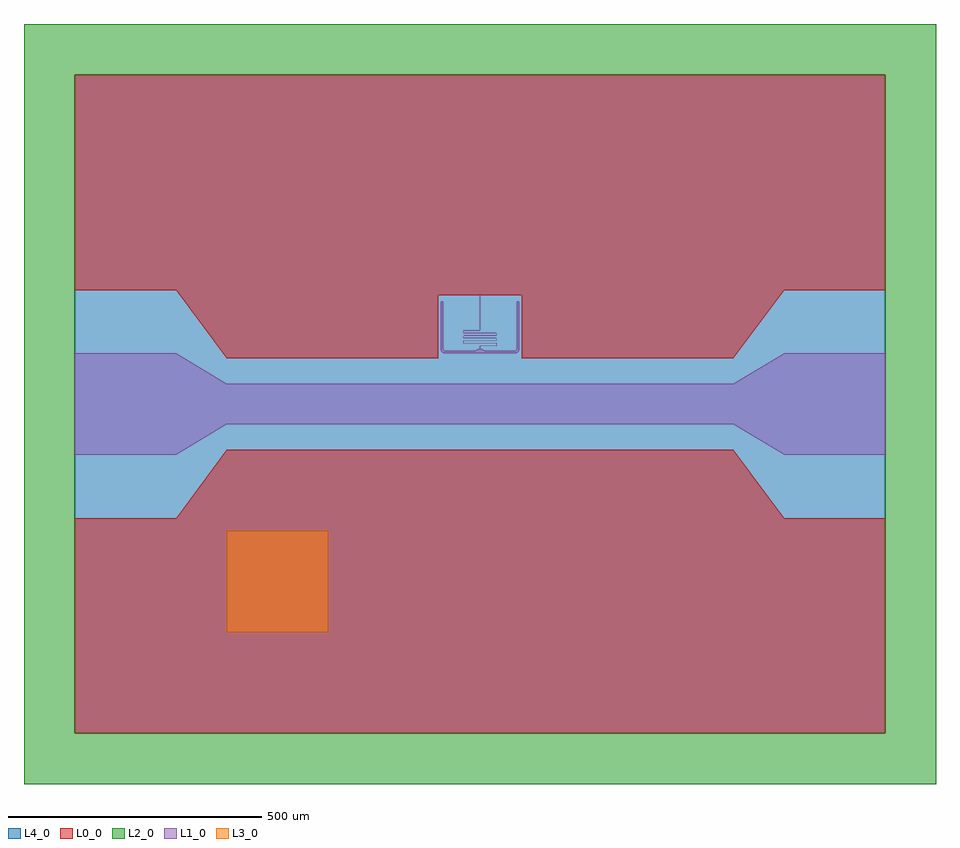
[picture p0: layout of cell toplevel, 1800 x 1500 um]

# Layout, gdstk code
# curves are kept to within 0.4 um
import gdstk
lib = gdstk.Library(unit=1e-6, precision=1e-09)
def R(c, l, rs):  # rectangles x0, y0, x1, y1
    for r in rs: c.add(gdstk.rectangle(r[:2], r[2:], *l))
def P(c, l, *ps):  # polygons
    for p in ps: c.add(gdstk.Polygon(p, *l))
L0_0 = (0, 0)
L1_0 = (1, 0)
L2_0 = (2, 0)
L3_0 = (3, 0)
L4_0 = (4, 0)

toplevel = lib.new_cell('toplevel')
P(toplevel, L0_0, [(82.5,215),(82.5,90),(500,90),(600,225),(800,225),(800,650),(-800,650),(-800,225),(-600,225),(-500,90),(-82.5,90),(-82.5,215)],
  [(800,-650),(800,-225),(600,-225),(500,-90),(-500,-90),(-600,-225),(-800,-225),(-800,-650)])
P(toplevel, L1_0, [(-75.109,202.498),(-76.768,201.768),(-77.498,200.109),(-77.495,110.762),(-76.51,105.237),(-73.502,101.654),(-70.509,100.405),(-66.598,100.003),(66.879,100.007),(72.263,100.989),(75.811,103.945),(77.108,107.045),(77.499,111.178),(77.5,200),(76.343,202.108),(73.846,202.217),(72.502,200.109),(72.493,110.67),(72.07,107.598),(70.83,105.881),(66.336,105.001),(-66.125,105),(-70.871,105.909),(-71.911,107.199),(-72.426,109.368),(-72.502,200.109),(-73.311,201.843)],
  [(0.3,110),(0.377,113.73),(0.737,114.364),(1.46,114.661),(30.915,114.7),(32.015,114.834),(32.583,115.123),(32.978,115.566),(33.298,116.954),(33.13,119.119),(32.74,119.74),(32.108,120.134),(30.862,120.3),(-31.125,120.304),(-31.892,120.426),(-32.38,120.755),(-32.638,121.332),(-32.672,123.465),(-32.469,124.117),(-32.012,124.524),(-31.244,124.691),(31.056,124.702),(32.413,125.009),(32.853,125.387),(33.142,125.915),(33.299,127.969),(33.112,129.165),(32.478,129.951),(31.38,130.283),(-30.994,130.301),(-32.043,130.491),(-32.571,131.1),(-32.7,132.15),(-32.577,133.884),(-32.138,134.456),(-31.303,134.687),(31.046,134.702),(32.38,134.99),(32.82,135.347),(33.121,135.858),(33.3,137.83),(33.117,139.154),(32.478,139.951),(31.38,140.283),(-30.984,140.301),(-32.012,140.476),(-32.549,141.043),(-32.698,141.935),(-32.609,143.782),(-32.245,144.38),(-31.522,144.664),(-1.833,144.705),(-0.62,144.99),(0.083,145.766),(0.3,147.127),(0.3,215),(-0.3,215),(-0.3,147.14),(-0.461,146.019),(-0.965,145.487),(-1.915,145.303),(-31.643,145.252),(-32.613,144.853),(-33.158,144.038),(-33.298,141.954),(-33.103,140.812),(-32.357,139.978),(-31.046,139.702),(31.303,139.687),(32.145,139.452),(32.58,138.875),(32.7,137.078),(32.562,136.075),(32.027,135.483),(30.984,135.301),(-31.38,135.283),(-32.478,134.951),(-33.112,134.165),(-33.3,132.937),(-33.134,130.892),(-32.837,130.366),(-32.402,130.003),(-31.056,129.702),(31.303,129.687),(32.138,129.456),(32.577,128.884),(32.7,127.244),(32.577,126.116),(32.05,125.494),(30.994,125.301),(-31.289,125.289),(-32.29,125.056),(-32.944,124.488),(-33.252,123.643),(-33.3,122.244),(-33.208,121.136),(-32.837,120.366),(-32.165,119.888),(-31.2,119.706),(30.85,119.7),(31.9,119.571),(32.354,119.275),(32.617,118.756),(32.682,116.63),(32.349,115.719),(31.512,115.335),(2.085,115.3),(1.02,115.177),(0.233,114.712),(-0.202,113.887),(-0.3,110)],
  [(10,105),(0.3,110),(-0.3,110),(-10,105)],
  [(-500,40),(-600,100),(-800,100),(-800,-100),(-600,-100),(-500,-40),(500,-40),(600,-100),(800,-100),(800,100),(600,100),(500,40)])
P(toplevel, L2_0, [(900,750),(-900,750),(-900,-650),(-800,-650),(-800,650),(800,650),(800,-650),(-800,-650),(-900,-650),(-900,-750),(900,-750)])
R(toplevel, L3_0, [(-500,-450,-300,-250)])
R(toplevel, L4_0, [(-800,-650,800,650)])

lib.write_gds('toplevel.gds')
